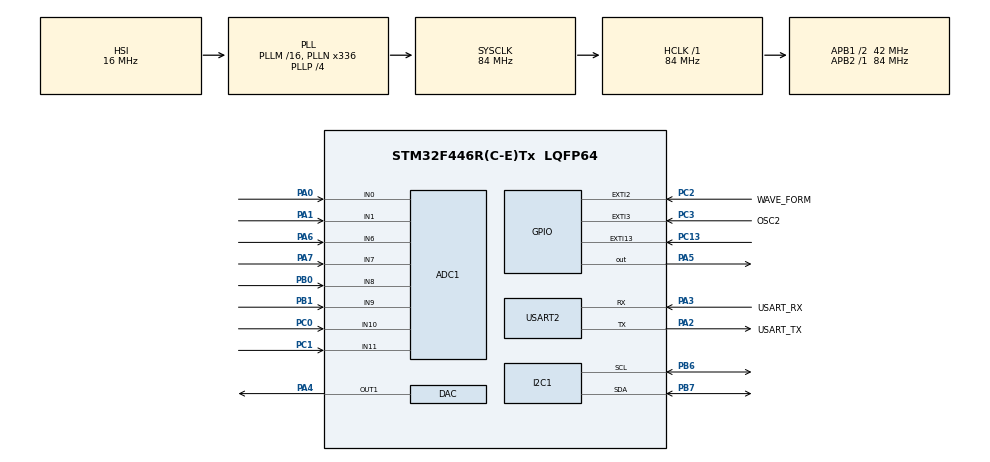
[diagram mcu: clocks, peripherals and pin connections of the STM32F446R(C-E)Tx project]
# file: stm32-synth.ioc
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ADC1.Channel-0\#ChannelRegularConversion=ADC_CHANNEL_0
ADC1.Channel-1\#ChannelRegularConversion=ADC_CHANNEL_1
ADC1.Channel-2\#ChannelRegularConversion=ADC_CHANNEL_6
ADC1.Channel-3\#ChannelRegularConversion=ADC_CHANNEL_7
ADC1.Channel-4\#ChannelRegularConversion=ADC_CHANNEL_8
ADC1.Channel-5\#ChannelRegularConversion=ADC_CHANNEL_9
ADC1.Channel-6\#ChannelRegularConversion=ADC_CHANNEL_10
ADC1.Channel-7\#ChannelRegularConversion=ADC_CHANNEL_11
ADC1.ContinuousConvMode=DISABLE
ADC1.DMAContinuousRequests=ENABLE
ADC1.ExternalTrigConv=ADC_EXTERNALTRIGCONV_T8_TRGO
ADC1.NbrOfConversion=8
ADC1.NbrOfConversionFlag=1
ADC1.Rank-0\#ChannelRegularConversion=1
ADC1.Rank-1\#ChannelRegularConversion=2
ADC1.Rank-2\#ChannelRegularConversion=3
ADC1.Rank-3\#ChannelRegularConversion=4
ADC1.Rank-4\#ChannelRegularConversion=5
ADC1.Rank-5\#ChannelRegularConversion=6
ADC1.Rank-6\#ChannelRegularConversion=7
ADC1.Rank-7\#ChannelRegularConversion=8
ADC1.SamplingTime-0\#ChannelRegularConversion=ADC_SAMPLETIME_480CYCLES
ADC1.SamplingTime-1\#ChannelRegularConversion=ADC_SAMPLETIME_480CYCLES
ADC1.SamplingTime-2\#ChannelRegularConversion=ADC_SAMPLETIME_480CYCLES
ADC1.SamplingTime-3\#ChannelRegularConversion=ADC_SAMPLETIME_480CYCLES
ADC1.SamplingTime-4\#ChannelRegularConversion=ADC_SAMPLETIME_480CYCLES
ADC1.SamplingTime-5\#ChannelRegularConversion=ADC_SAMPLETIME_480CYCLES
ADC1.SamplingTime-6\#ChannelRegularConversion=ADC_SAMPLETIME_480CYCLES
ADC1.SamplingTime-7\#ChannelRegularConversion=ADC_SAMPLETIME_480CYCLES
ADC1.ScanConvMode=ENABLE
ADC1.master=1
DAC.DAC_Trigger=DAC_TRIGGER_T6_TRGO
Dma.ADC1.1.Direction=DMA_PERIPH_TO_MEMORY
Dma.ADC1.1.FIFOMode=DMA_FIFOMODE_DISABLE
Dma.ADC1.1.Instance=DMA2_Stream0
Dma.ADC1.1.MemDataAlignment=DMA_MDATAALIGN_HALFWORD
Dma.ADC1.1.MemInc=DMA_MINC_ENABLE
Dma.ADC1.1.Mode=DMA_CIRCULAR
Dma.ADC1.1.PeriphDataAlignment=DMA_PDATAALIGN_HALFWORD
Dma.ADC1.1.PeriphInc=DMA_PINC_DISABLE
Dma.ADC1.1.Priority=DMA_PRIORITY_LOW
Dma.DAC1.0.Direction=DMA_MEMORY_TO_PERIPH
Dma.DAC1.0.FIFOMode=DMA_FIFOMODE_DISABLE
Dma.DAC1.0.Instance=DMA1_Stream5
Dma.DAC1.0.MemDataAlignment=DMA_MDATAALIGN_HALFWORD
Dma.DAC1.0.MemInc=DMA_MINC_ENABLE
Dma.DAC1.0.Mode=DMA_CIRCULAR
Dma.DAC1.0.PeriphDataAlignment=DMA_PDATAALIGN_HALFWORD
Dma.DAC1.0.PeriphInc=DMA_PINC_DISABLE
Dma.DAC1.0.Priority=DMA_PRIORITY_LOW
Dma.Request0=DAC1
Dma.Request1=ADC1
Mcu.Family=STM32F4
Mcu.Name=STM32F446R(C-E)Tx
Mcu.Package=LQFP64
NUCLEO-F446RE.BUTTON=1
NUCLEO-F446RE.LD1=true
NVIC.DMA1_Stream5_IRQn=true\:0\:0\:false\:false\:true\:false\:true\:true
NVIC.DMA2_Stream0_IRQn=true\:0\:0\:false\:false\:true\:false\:true\:true
NVIC.EXTI15_10_IRQn=true\:0\:0\:false\:false\:true\:false\:true\:true
NVIC.EXTI2_IRQn=true\:0\:0\:false\:false\:true\:true\:true\:true
NVIC.EXTI3_IRQn=true\:0\:0\:false\:false\:true\:true\:true\:true
NVIC.PriorityGroup=NVIC_PRIORITYGROUP_0
NVIC.USART2_IRQn=true\:0\:0\:false\:false\:true\:true\:true\:true
PA0-WKUP.Signal=ADCx_IN0
PA1.Signal=ADCx_IN1
PA13.GPIO_Label=TMS
PA13.Signal=SYS_JTMS-SWDIO
PA14.GPIO_Label=TCK
PA14.Signal=SYS_JTCK-SWCLK
PA2.GPIO_Label=USART_TX
PA2.Mode=Asynchronous
PA2.Signal=USART2_TX
PA3.GPIO_Label=USART_RX
PA3.Mode=Asynchronous
PA3.Signal=USART2_RX
PA4.Signal=COMP_DAC1_group
PA5.Signal=GPIO_Output
PA6.Signal=ADCx_IN6
PA7.Signal=ADCx_IN7
PB0.Signal=ADCx_IN8
PB1.Signal=ADCx_IN9
PB3.GPIO_Label=SWO
PB3.Signal=SYS_JTDO-SWO
PB6.Mode=I2C
PB6.Signal=I2C1_SCL
PB7.Mode=I2C
PB7.Signal=I2C1_SDA
PC0.Signal=ADCx_IN10
PC1.Signal=ADCx_IN11
PC13.Signal=GPXTI13
PC14-OSC32_IN.Signal=RCC_OSC32_IN
PC15-OSC32_OUT.Signal=RCC_OSC32_OUT
PC2.GPIO_Label=WAVE_FORM
PC2.GPIO_ModeDefaultEXTI=GPIO_MODE_IT_FALLING
PC2.GPIO_PuPd=GPIO_PULLUP
PC2.Signal=GPXTI2
PC3.GPIO_Label=OSC2
PC3.GPIO_ModeDefaultEXTI=GPIO_MODE_IT_FALLING
PC3.GPIO_PuPd=GPIO_PULLUP
PC3.Signal=GPXTI3
PH0-OSC_IN.Signal=RCC_OSC_IN
PH1-OSC_OUT.Signal=RCC_OSC_OUT
ProjectManager.HeapSize=0x200
ProjectManager.StackSize=0x400
ProjectManager.TargetToolchain=CMake
RCC.AHBFreq_Value=84000000
RCC.APB1CLKDivider=RCC_HCLK_DIV2
RCC.APB1Freq_Value=42000000
RCC.APB1TimFreq_Value=84000000
RCC.APB2Freq_Value=84000000
RCC.APB2TimFreq_Value=84000000
RCC.CortexFreq_Value=84000000
RCC.FLatency-AdvancedSettings=FLASH_LATENCY_2
RCC.HCLKFreq_Value=84000000
RCC.HSE_VALUE=8000000
RCC.HSI_VALUE=16000000
RCC.LSE_VALUE=32768
RCC.PLLN=336
RCC.PLLP=RCC_PLLP_DIV4
RCC.SYSCLKFreq_VALUE=84000000
RCC.SYSCLKSource=RCC_SYSCLKSOURCE_PLLCLK
RCC.USBFreq_Value=168000000
RCC.VCOOutputFreq_Value=336000000
SH.ADCx_IN0.0=ADC1_IN0,IN0
SH.ADCx_IN1.0=ADC1_IN1,IN1
SH.ADCx_IN10.0=ADC1_IN10,IN10
SH.ADCx_IN11.0=ADC1_IN11,IN11
SH.ADCx_IN6.0=ADC1_IN6,IN6
SH.ADCx_IN7.0=ADC1_IN7,IN7
SH.ADCx_IN8.0=ADC1_IN8,IN8
SH.ADCx_IN9.0=ADC1_IN9,IN9
SH.COMP_DAC1_group.0=DAC_OUT1,DAC_OUT1
TIM6.Period=1905-1
TIM6.Prescaler=0
TIM6.TIM_MasterOutputTrigger=TIM_TRGO_UPDATE
TIM8.Period=2000-1
TIM8.Prescaler=84-1
TIM8.TIM_MasterOutputTrigger=TIM_TRGO_UPDATE
USART2.VirtualMode=VM_ASYNC
VP_NUCLEO-F446RE_VS_BSP_COMMON.Mode=COMMON
VP_TIM6_VS_ClockSourceINT.Mode=Enable_Timer
VP_TIM8_VS_ClockSourceINT.Mode=Internal
board=NUCLEO-F446RE

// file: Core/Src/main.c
/* USER CODE BEGIN Header */
/**
  ******************************************************************************
  * @file           : main.c
  * @brief          : Main program body
  ******************************************************************************
  * @attention
  *
  * Copyright (c) 2026 STMicroelectronics.
  * All rights reserved.
  *
  * This software is licensed under terms that can be found in the LICENSE file
  * in the root directory of this software component.
  * If no LICENSE file comes with this software, it is provided AS-IS.
  *
  ******************************************************************************
  */
/* USER CODE END Header */
#include "main.h"

/* USER CODE BEGIN Includes */
#include <stdint.h>
#include <stdio.h>
#include <math.h>
#include <stdbool.h>

#include "synth.h"
#include "app_state.h"

/* USER CODE END Includes */

/* USER CODE BEGIN PD */
#define DAC_DMA_BUFFER_SIZE 32
#define OUTPUT_MID 2048 // 12-bit DAC, mid value is 2048
#define DEBOUNCE_MS 200

#define ADC_RESOLUTION pow(2,12)
#define ADC_DMA_SAMPLES 10
#define NUM_ADC_CHANNELS 8 // just need to update this when increasing ADC channels
// #define ADC_DMA_BUFFER_SIZE 1 * ADC_DMA_SAMPLES

#define ADC_DMA_BUFFER_SIZE (NUM_ADC_CHANNELS * ADC_DMA_SAMPLES)

/* USER CODE END PD */

ADC_HandleTypeDef hadc1;
DMA_HandleTypeDef hdma_adc1;

DAC_HandleTypeDef hdac;
DMA_HandleTypeDef hdma_dac1;

I2C_HandleTypeDef hi2c1;

TIM_HandleTypeDef htim6;
TIM_HandleTypeDef htim8;

UART_HandleTypeDef huart2;

/* USER CODE BEGIN PV */

uint32_t cb_counter = 0; // callback counter, incremented in timer interrupt

uint32_t last_button_press_time = 0; // last time the button was pressed, for debouncing
uint32_t last_OSC2_btn_press_time = 0; // last time the button was pressed, for debouncing
uint32_t last_WAVE_FORM_btn_press_time = 0; // last time the button was pressed, for debouncing
// volatile because it is modified in an interrupt and used in the main loop, so the compiler should not optimize it away
volatile bool is_blue_button_pressed = 0;
volatile bool is_OSC2_btn_pressed = 0;
volatile bool is_WAVE_FORM_btn_pressed = 0;
bool is_timer_running = 0;

uint16_t dac_dma_buffer[2 * DAC_DMA_BUFFER_SIZE]; // buffer for DMA transfer
uint16_t adc_dma_buffer[2 * ADC_DMA_BUFFER_SIZE];

volatile float adc_values[NUM_ADC_CHANNELS];

// synth effects parameters
// volatile float volume = 0.05f;
volatile float volume = 1.0f;
volatile float pitch = 1.0f;

// twice the dma buffer cuz we use circular mode

/* USER CODE END PV */

void SystemClock_Config(void);
static void MX_GPIO_Init(void);
static void MX_DMA_Init(void);
static void MX_USART2_UART_Init(void);
static void MX_TIM6_Init(void);
static void MX_DAC_Init(void);
static void MX_ADC1_Init(void);
static void MX_TIM8_Init(void);
static void MX_I2C1_Init(void);

/* USER CODE BEGIN 0 */

// Send printf to uart2
int _write(int fd, char* ptr, int len) {
  // overwrites the built-in _write function, which is called by printf and other stdio functions
  HAL_StatusTypeDef hstatus;

  if (fd == 1 || fd == 2) {
    hstatus = HAL_UART_Transmit(&huart2, (uint8_t *) ptr, len, HAL_MAX_DELAY);
    if (hstatus == HAL_OK)
      return len;
    else
      return -1;
  }
  return -1;
}

// optimize get tick function to be inline, so it doesn't have the overhead of a function call
// only affects release
inline uint32_t HAL_GetTick(void)
{
  return uwTick;
}

// callbacks
inline void HAL_TIM_PeriodElapsedCallback(TIM_HandleTypeDef *htim) // timer cb
{
  if (htim->Instance == TIM6) {
    cb_counter++; // increment callback counter
  }
}
void HAL_GPIO_EXTI_Callback(uint16_t GPIO_Pin) // button cb
{
  // blue button from nucleo board
  if (GPIO_Pin == GPIO_PIN_13)   // or the appropriate pin macro
  {
    uint32_t now = HAL_GetTick();
    if ( now - last_button_press_time >= DEBOUNCE_MS) {
      last_button_press_time = now;
      is_blue_button_pressed = 1;
    }
  }

  // additional buttons
  if(GPIO_Pin == WAVE_FORM_Pin)
  {
    uint32_t now = HAL_GetTick();
    if ( now - last_WAVE_FORM_btn_press_time >= DEBOUNCE_MS) {
      last_WAVE_FORM_btn_press_time = now;
      is_WAVE_FORM_btn_pressed = 1;
    }
  }
  if (GPIO_Pin == OSC2_Pin)
  {
    uint32_t now = HAL_GetTick();
    if ( now - last_OSC2_btn_press_time >= DEBOUNCE_MS) {
      last_OSC2_btn_press_time = now;
      is_OSC2_btn_pressed = 1;
    }
  }

}

void apply_effects(uint16_t *sample) {
  // apply effects to the sample

  // volume
  *sample = (uint16_t)((float)(*sample) * volume);

  // low-pass filter

  // pitch
  // *sample = (uint16_t)((float)(*sample) * pitch);
}

static inline void do_dac(uint16_t *buffer){
  float amplitude = OUTPUT_MID * 0.9f; // 90% of the DAC range, to avoid clipping

  // update volume
  // volume = (float) adc_values[0] / (ADC_RESOLUTION); // scale to 0.0 - 1.0
  // pitch = (float) adc_values[1] / (ADC_RESOLUTION); // scale to 0.0 - 1.0
  // set_osc1_freq(440.0f * pitch); // update frequency of osc1 based on adc value

  // update pitch

  for (int i = 0; i < DAC_DMA_BUFFER_SIZE; i++) {
    //! sine wave
    // uint32_t index = phase >> 22;
    // float wave = sine_table[index];

    //! sawtooth wave
    // float wave = 2.0f * (phase / 4294967296.0f) - 1.0f; // phase is a uint32_t, so it wraps around at 2^32, which is 4294967296

    // float sample = wave * amplitude;
    float sample = synth_process(i) * amplitude;

    // buffer[i] = OUTPUT_MID + amplitude * wave;
    buffer[i] = OUTPUT_MID + sample;
    if (i>1 && buffer[i-1]<OUTPUT_MID&&OUTPUT_MID>buffer[i]) {
      phase_trigger_index = i;
    }
    // if (i>1 && dac_dma_buffer[i - 1] < OUTPUT_MID && dac_dma_buffer[i] >= OUTPUT_MID) {
    //   is_load_dac_buffer_triggered = true;
    // }
    apply_effects(&buffer[i]);

    // increment phase
    // phase += phase_increment;
    // phase will auto wrap due to uint32_t overflow
  }
}

void process_adc_dma_buffer(uint16_t *buffer) {
  // process the adc dma buffer, which is filled by the adc dma interrupt

  // sum the samples for each channel
  uint32_t sums[NUM_ADC_CHANNELS] = {0};
  for (int sample = 0; sample < ADC_DMA_SAMPLES; sample++)
  {
      for (int ch = 0; ch < NUM_ADC_CHANNELS; ch++)
      {
          sums[ch] += buffer[sample * NUM_ADC_CHANNELS + ch];
      }
  }

  // average the samples and store in adc_value
  for (int ch = 0; ch < NUM_ADC_CHANNELS; ch++)
  {
      adc_values[ch] = sums[ch] / ADC_DMA_SAMPLES;
  }
}

// OLED TEST
#define OLED1_ADDR (0x3D << 1)

void OLED_Command(uint8_t cmd, uint16_t address)
{
    uint8_t data[2] = {0x00, cmd};
    // 0x00 is the control byte used by SH1106, followed by the command byte

    HAL_I2C_Master_Transmit(
        &hi2c1,
        address,
        data,
        2,
        HAL_MAX_DELAY
    );
}

void OLED_Init(uint16_t address)
{
  HAL_Delay(100);

  OLED_Command(0xAE, address); // Display OFF

  OLED_Command(0xD5, address);
  OLED_Command(0x80, address);

  OLED_Command(0xA8, address);
  OLED_Command(0x3F, address);

  OLED_Command(0xD3, address);
  OLED_Command(0x00, address);

  OLED_Command(0x40, address);

  OLED_Command(0x8D, address);
  OLED_Command(0x14, address); // Charge pump

  OLED_Command(0x20, address);
  OLED_Command(0x00, address); // Horizontal addressing mode

  OLED_Command(0xA1, address); // Segment remap
  OLED_Command(0xC8, address); // COM scan direction

  OLED_Command(0xDA, address);
  OLED_Command(0x12, address);

  OLED_Command(0x81, address);
  OLED_Command(0x7F, address);

  OLED_Command(0xD9, address);
  OLED_Command(0xF1, address);

  OLED_Command(0xDB, address);
  OLED_Command(0x40, address);

  OLED_Command(0xA4, address);
  OLED_Command(0xA6, address);

  OLED_Command(0xAF, address); // Display ON
}

#define WAVEFORM_CYCLE_COUNT 12
#define LOAD_DAC_BUFFER_SIZE DAC_DMA_BUFFER_SIZE*WAVEFORM_CYCLE_COUNT
uint16_t load_dac_buffer[LOAD_DAC_BUFFER_SIZE] = {0}; // 4*32=128 fits the oled resolution nicely
uint16_t curr_load_dac_buffer_idx = 0; // copied up to this index
bool is_load_dac_buffer_triggered = false;
// uint8_t oled_data[8][129] = {0b00000000};
uint8_t oled_data[8][129] = { // 0x40 = following bytes are display data
    {0x40},
    {0x40},
    {0x40},
    {0x40},
    {0x40},
    {0x40},
    {0x40},
    {0x40}
};
uint32_t render_oled_count = 0;
volatile uint16_t curr_dac_buffer_cycle = 0;
void render_oled(void){
  render_oled_count++;

  // clear oled data first
  for (int page = 0; page < 8; page++) {
    for (int i = 1; i < 129; i++) {
      // skip index 0 of each column
      oled_data[page][i] = 0;
    }
  }

  uint16_t max_dac_value = 0;
  for (int i = 1; i < LOAD_DAC_BUFFER_SIZE; i++){
    uint16_t value = load_dac_buffer[i];
    if (value > max_dac_value) {
      max_dac_value = value;
    }
  }
  if (max_dac_value>4095) max_dac_value = 4095;
  uint16_t translate_y = (OUTPUT_MID-(max_dac_value)/2);

  // fill with new data
  for (int i = 0; i < LOAD_DAC_BUFFER_SIZE; i++) {
    // map to oled_data
    // uint16_t value = load_dac_buffer[i]+translate_y;
    uint16_t value = load_dac_buffer[i];
    // clamp DAC value to avoid HardFault
    if (value > 4095) value = 4095;
    uint8_t y = 63-(value >> 6); // just slightly more optimized, sacrificing accuracy for the edges of the mapping
    uint16_t x = i*((float)127/(LOAD_DAC_BUFFER_SIZE-1))+1; // map LOAD_DAC_BUFFER_SIZE to 128 pixels
    oled_data[y / 8][x] |= 1 << (y%8);
    /*
    !IMPORTANT LESSON!
    (|=) is important instead of just (=) because if LOAD_DAC_BUFFER_SIZE is greater than the oled width (128),
    then the mapping becomes compressed and multiple iterations can hit the same x in oled[page][x] and overwrite the previous iteration
    */

    // connect curr pixel to next pixel
    if (i+1==LOAD_DAC_BUFFER_SIZE) break;
    // uint16_t value_next = load_dac_buffer[i+1]+translate_y;
    uint16_t value_next = load_dac_buffer[i+1];
    // clamp value again here
    if (value_next > 4095) value_next = 4095;
    if (value_next < 0) value_next = 0;
    uint8_t y_next = 63-(value_next >> 6);
    int16_t difference = (int16_t)y-(int16_t)y_next;

    if (difference>1) { // y > y_next
      oled_data[y / 8][x] = (uint8_t)~0 >> (7-(y%8));
      for (int page = 1; page < difference/8+1; page++) {
        oled_data[(y/8)-page][x] = (~0);
      }
      if(y/8==y_next/8){
        oled_data[y_next / 8][x] &= (uint8_t)~0 << (y_next%8);
      } else {
        oled_data[y_next / 8][x] = (uint8_t)~0 << (y_next%8);
      }
    } else if (difference<-1) { // y < y_next
      oled_data[y / 8][x] = (uint8_t)~0 << (y%8);
      for (int page = 1; page < -difference/8+1; page++) {
        oled_data[(y/8)+page][x] = (~0);
      }
      if (y/8==y_next/8) {
        oled_data[y_next / 8][x] &= (uint8_t)~0 >> (7-(y_next%8));
      } else {
        oled_data[y_next / 8][x] = (uint8_t)~0 >> (7-(y_next%8));
      }
    }
  }

  // send i2c command to oled
  for (volatile int page = 0; page < 8; page++){
    // oled_data[page][0] = 0x40;
    OLED_Command(0xB0 + page, OLED1_ADDR);
    OLED_Command(0x00, OLED1_ADDR);
    OLED_Command(0x10, OLED1_ADDR);

    HAL_I2C_Master_Transmit(
      &hi2c1,
      OLED1_ADDR,
      oled_data[page],
      129,
      HAL_MAX_DELAY
    );
  }

  curr_dac_buffer_cycle = 0; // done using buffer. ready to update
  curr_load_dac_buffer_idx = 0; // done using buffer. ready to update
  is_load_dac_buffer_triggered = false;
  // printf("phase_trigger_index: %d\n", phase_trigger_index);
  phase_trigger_index = -1;
}

// OLED TEST
static void copy_dac_buffer(void){
  // if (curr_waveform_cycle >= WAVEFORM_CYCLE_COUNT) return;
  if (curr_load_dac_buffer_idx == LOAD_DAC_BUFFER_SIZE) return;

  // // uint16_t max = 0;
  // // for (int i = 0; i < DAC_DMA_BUFFER_SIZE; i++) {
  // //   if (dac_dma_buffer[i] > max) max = dac_dma_buffer[i];
  // // }
  // // uint16_t min = max;
  // // for (int i = 0; i < DAC_DMA_BUFFER_SIZE; i++) {
  // //   if (dac_dma_buffer[i] < min) min = dac_dma_buffer[i];
  // // }
  // // printf("min: %u, max: %u\n", min, max);
  // // only start copying when trigger is detected. trigger = 0

  // if (phase_trigger_index < 0) return;
  // uint16_t buffer_offset = (curr_dac_buffer_cycle % 2) * DAC_DMA_BUFFER_SIZE;

  // // printf("cycle=%lu offset=%u trigger=%d absolute=%u\n",
  // //      curr_dac_buffer_cycle,
  // //      buffer_offset,
  // //      phase_trigger_index,
  // //      buffer_offset + phase_trigger_index);

  // // local and absolute is in relation to the circular buffer
  // for (int local_i = 0; local_i < DAC_DMA_BUFFER_SIZE; local_i++) {
  //   if (curr_load_dac_buffer_idx == LOAD_DAC_BUFFER_SIZE) return;
  //   uint16_t absolute_i  = local_i + buffer_offset;

  //   if ( local_i==phase_trigger_index) {
  //     // printf("absolute_i: %u\n", absolute_i);
  //     is_load_dac_buffer_triggered = true;
  //   }
  //   if (!is_load_dac_buffer_triggered) continue;
  //   // if (curr_load_dac_buffer_idx==0) {
  //   //   printf("dac_dma_buffer[absolute_i]: %u\n", dac_dma_buffer[absolute_i]);
  //   // }

  //   load_dac_buffer[curr_load_dac_buffer_idx++] = dac_dma_buffer[absolute_i];
  // }

  for (int i = (curr_dac_buffer_cycle%2)*DAC_DMA_BUFFER_SIZE; i < ((curr_dac_buffer_cycle%2)+1)*DAC_DMA_BUFFER_SIZE; i++) {
    if (curr_load_dac_buffer_idx == LOAD_DAC_BUFFER_SIZE) break;

    if (i>0 && dac_dma_buffer[i - 1] < OUTPUT_MID && dac_dma_buffer[i] >= OUTPUT_MID) {
      is_load_dac_buffer_triggered = true;
    }

    if (!is_load_dac_buffer_triggered) break;
    load_dac_buffer[curr_load_dac_buffer_idx++] = dac_dma_buffer[i];
  }

}

inline void HAL_DAC_ConvHalfCpltCallbackCh1(DAC_HandleTypeDef *hdac)
{
  do_dac(&dac_dma_buffer[0]); // fill first half of buffer
  copy_dac_buffer();
  curr_dac_buffer_cycle++;
}
inline void HAL_DAC_ConvCpltCallbackCh1(DAC_HandleTypeDef *hdac)
{
  do_dac(&dac_dma_buffer[DAC_DMA_BUFFER_SIZE]); // fill second half of buffer
  copy_dac_buffer();
  curr_dac_buffer_cycle++;
}

void HAL_ADC_ConvCpltCallback(ADC_HandleTypeDef *hadc){
  process_adc_dma_buffer(&adc_dma_buffer[ADC_DMA_BUFFER_SIZE]);
}
void HAL_ADC_ConvHalfCpltCallback(ADC_HandleTypeDef *hadc){
  process_adc_dma_buffer(&adc_dma_buffer[0]);
}

/* USER CODE END 0 */

int main(void)
{

  /* MCU Configuration--------------------------------------------------------*/

  /* Reset of all peripherals, Initializes the Flash interface and the Systick. */
  HAL_Init();

  /* Configure the system clock */
  SystemClock_Config();

  /* Initialize all configured peripherals */
  MX_GPIO_Init();
  MX_DMA_Init();
  MX_USART2_UART_Init();
  MX_TIM6_Init();
  MX_DAC_Init();
  MX_ADC1_Init();
  MX_TIM8_Init();
  MX_I2C1_Init();
  /* USER CODE BEGIN 2 */
  printf("Starting main loop...\n");

  printf("filling sine lookup table...\n");
  synth_init(); // initialize the synth

  HAL_TIM_Base_Start(&htim8);
  HAL_ADC_Start_DMA(&hadc1, (uint32_t*) &adc_dma_buffer, 2 * ADC_DMA_BUFFER_SIZE);
  // HAL_TIM_Base_Start_IT(&htim6); // start timer 6 in interrupt mode
  // HAL_DAC_Start_DMA(&hdac, DAC_CHANNEL_1, (uint32_t*)dma_buffer, 2 * DAC_DMA_BUFFER_SIZE, DAC_ALIGN_12B_R); // start DAC in DMA mode

  OLED_Init(OLED1_ADDR);
  uint8_t data[129];

  // Using SH1106 which has 132x64 memory compared to 128x64 in SSD1306
  data[0] = 0x40; // 0x40 = following bytes are display data

  for (int i = 1; i < 129; i++)
      data[i] = 0x00;

  for (int page = 0; page < 8; page++)
  {
      OLED_Command(0xB0 + page, OLED1_ADDR);

      // Start from column address 2
      OLED_Command(0x00, OLED1_ADDR);
      OLED_Command(0x10, OLED1_ADDR);

      // Only page 0 gets the pixel
      if (page == 0){
          // data[40] = 0x11;
          // data[40] = 0b01010101;
          // data[40] = 0b00000001;
          data[40] = 0b10000000;
          // data[41] = 0b10101010;
      }
      else if (page == 1){
          data[40] = 0x00;
          data[41] = 0x00;
          // data[41] = 0x01;
      }
      else{
          data[40] = 0x00;
          data[41] = 0x00;
      }

      HAL_I2C_Master_Transmit(
          &hi2c1,
          OLED1_ADDR,
          data,
          129,
          HAL_MAX_DELAY
      );
  }

  // data[0] = 0x40; // 0x40 = following bytes are display data
  // OLED_Command(0xB0 + 1);
  // OLED_Command(0x02);
  // OLED_Command(0x10);

  // // data[40] = 0x00;
  // data[42] = 0x01;

  // HAL_I2C_Master_Transmit(
  //     &hi2c1,
  //     OLED_ADDR,
  //     data,
  //     129,
  //     HAL_MAX_DELAY
  // );

  uint32_t loop_counter = 0;
  uint32_t now = HAL_GetTick();
  #define LOOP_COUNTER_LOG_INTERVAL 1000
  uint32_t next_loop_counter_log = now + LOOP_COUNTER_LOG_INTERVAL;

  /* USER CODE END 2 */

  /* Initialize leds */
  BSP_LED_Init(LED2);

  /* Initialize USER push-button, will be used to trigger an interrupt each time it's pressed.*/
  BSP_PB_Init(BUTTON_USER, BUTTON_MODE_EXTI);

  /* Infinite loop */
  /* USER CODE BEGIN WHILE */
  while (1)
  {
    now = HAL_GetTick();

    if(is_WAVE_FORM_btn_pressed) {
      is_WAVE_FORM_btn_pressed = 0;
      // BSP_LED_Toggle(LED2); // toggle led using BSP function
      iter_OSC1_waveform();
    }
    if(is_OSC2_btn_pressed) {
      is_OSC2_btn_pressed = 0;
      // BSP_LED_Toggle(LED2); // toggle led using BSP function
      // toggle_OSC2();
      iter_chord();
    }

    if (is_blue_button_pressed) {
      is_blue_button_pressed = 0;
      // BSP_LED_Toggle(LED2); // toggle led using BSP function
      // printf("Button pressed!\n");

      // toggle timer6
      if (is_timer_running)
      {
          // no need to start TIM in interrupt mode, because we are using DAC with DMA, which will trigger TIM6 automatically
          HAL_TIM_Base_Stop(&htim6);
          HAL_DAC_Stop_DMA(&hdac, DAC_CHANNEL_1);
      }
      else
      {
          HAL_TIM_Base_Start(&htim6);
          HAL_DAC_Start_DMA(&hdac, DAC_CHANNEL_1, (uint32_t*)dac_dma_buffer, 2 * DAC_DMA_BUFFER_SIZE, DAC_ALIGN_12B_R);
      }

      is_timer_running = !is_timer_running;
    }

    // log loop counter
    if (now >= next_loop_counter_log) {
      printf("loop_counter: %lu\n", loop_counter);
      printf("render_oled_count: %lu\n", render_oled_count);
      loop_counter = 0;
      render_oled_count = 0;
      next_loop_counter_log = now + LOOP_COUNTER_LOG_INTERVAL;

      // if (curr_waveform_cycle == WAVEFORM_CYCLE_COUNT) render_oled();
    }
    // if (curr_waveform_cycle == WAVEFORM_CYCLE_COUNT) render_oled();
    if (curr_load_dac_buffer_idx == LOAD_DAC_BUFFER_SIZE) render_oled();
    // render_oled();

    loop_counter++;

    /* USER CODE END WHILE */

  }
}

void SystemClock_Config(void)
{
  RCC_OscInitTypeDef RCC_OscInitStruct = {0};
  RCC_ClkInitTypeDef RCC_ClkInitStruct = {0};

  /** Configure the main internal regulator output voltage
  */
  __HAL_RCC_PWR_CLK_ENABLE();
  __HAL_PWR_VOLTAGESCALING_CONFIG(PWR_REGULATOR_VOLTAGE_SCALE3);

  /** Initializes the RCC Oscillators according to the specified parameters
  * in the RCC_OscInitTypeDef structure.
  */
  RCC_OscInitStruct.OscillatorType = RCC_OSCILLATORTYPE_HSI;
  RCC_OscInitStruct.HSIState = RCC_HSI_ON;
  RCC_OscInitStruct.HSICalibrationValue = RCC_HSICALIBRATION_DEFAULT;
  RCC_OscInitStruct.PLL.PLLState = RCC_PLL_ON;
  RCC_OscInitStruct.PLL.PLLSource = RCC_PLLSOURCE_HSI;
  RCC_OscInitStruct.PLL.PLLM = 16;
  RCC_OscInitStruct.PLL.PLLN = 336;
  RCC_OscInitStruct.PLL.PLLP = RCC_PLLP_DIV4;
  RCC_OscInitStruct.PLL.PLLQ = 2;
  RCC_OscInitStruct.PLL.PLLR = 2;
  if (HAL_RCC_OscConfig(&RCC_OscInitStruct) != HAL_OK)
  {
    Error_Handler();
  }

  /** Initializes the CPU, AHB and APB buses clocks
  */
  RCC_ClkInitStruct.ClockType = RCC_CLOCKTYPE_HCLK|RCC_CLOCKTYPE_SYSCLK
                              |RCC_CLOCKTYPE_PCLK1|RCC_CLOCKTYPE_PCLK2;
  RCC_ClkInitStruct.SYSCLKSource = RCC_SYSCLKSOURCE_PLLCLK;
  RCC_ClkInitStruct.AHBCLKDivider = RCC_SYSCLK_DIV1;
  RCC_ClkInitStruct.APB1CLKDivider = RCC_HCLK_DIV2;
  RCC_ClkInitStruct.APB2CLKDivider = RCC_HCLK_DIV1;

  if (HAL_RCC_ClockConfig(&RCC_ClkInitStruct, FLASH_LATENCY_2) != HAL_OK)
  {
    Error_Handler();
  }
}

static void MX_ADC1_Init(void)
{

  ADC_ChannelConfTypeDef sConfig = {0};

  /** Configure the global features of the ADC (Clock, Resolution, Data Alignment and number of conversion)
  */
  hadc1.Instance = ADC1;
  hadc1.Init.ClockPrescaler = ADC_CLOCK_SYNC_PCLK_DIV4;
  hadc1.Init.Resolution = ADC_RESOLUTION_12B;
  hadc1.Init.ScanConvMode = ENABLE;
  hadc1.Init.ContinuousConvMode = DISABLE;
  hadc1.Init.DiscontinuousConvMode = DISABLE;
  hadc1.Init.ExternalTrigConvEdge = ADC_EXTERNALTRIGCONVEDGE_RISING;
  hadc1.Init.ExternalTrigConv = ADC_EXTERNALTRIGCONV_T8_TRGO;
  hadc1.Init.DataAlign = ADC_DATAALIGN_RIGHT;
  hadc1.Init.NbrOfConversion = 8;
  hadc1.Init.DMAContinuousRequests = ENABLE;
  hadc1.Init.EOCSelection = ADC_EOC_SINGLE_CONV;
  if (HAL_ADC_Init(&hadc1) != HAL_OK)
  {
    Error_Handler();
  }

  /** Configure for the selected ADC regular channel its corresponding rank in the sequencer and its sample time.
  */
  sConfig.Channel = ADC_CHANNEL_0;
  sConfig.Rank = 1;
  sConfig.SamplingTime = ADC_SAMPLETIME_480CYCLES;
  if (HAL_ADC_ConfigChannel(&hadc1, &sConfig) != HAL_OK)
  {
    Error_Handler();
  }

  /** Configure for the selected ADC regular channel its corresponding rank in the sequencer and its sample time.
  */
  sConfig.Channel = ADC_CHANNEL_1;
  sConfig.Rank = 2;
  if (HAL_ADC_ConfigChannel(&hadc1, &sConfig) != HAL_OK)
  {
    Error_Handler();
  }

  /** Configure for the selected ADC regular channel its corresponding rank in the sequencer and its sample time.
  */
  sConfig.Channel = ADC_CHANNEL_6;
  sConfig.Rank = 3;
  if (HAL_ADC_ConfigChannel(&hadc1, &sConfig) != HAL_OK)
  {
    Error_Handler();
  }

  /** Configure for the selected ADC regular channel its corresponding rank in the sequencer and its sample time.
  */
  sConfig.Channel = ADC_CHANNEL_7;
  sConfig.Rank = 4;
  if (HAL_ADC_ConfigChannel(&hadc1, &sConfig) != HAL_OK)
  {
    Error_Handler();
  }

  /** Configure for the selected ADC regular channel its corresponding rank in the sequencer and its sample time.
  */
  sConfig.Channel = ADC_CHANNEL_8;
  sConfig.Rank = 5;
  if (HAL_ADC_ConfigChannel(&hadc1, &sConfig) != HAL_OK)
  {
    Error_Handler();
  }

  /** Configure for the selected ADC regular channel its corresponding rank in the sequencer and its sample time.
  */
  sConfig.Channel = ADC_CHANNEL_9;
  sConfig.Rank = 6;
  if (HAL_ADC_ConfigChannel(&hadc1, &sConfig) != HAL_OK)
  {
    Error_Handler();
  }

  /** Configure for the selected ADC regular channel its corresponding rank in the sequencer and its sample time.
  */
  sConfig.Channel = ADC_CHANNEL_10;
  sConfig.Rank = 7;
  if (HAL_ADC_ConfigChannel(&hadc1, &sConfig) != HAL_OK)
  {
    Error_Handler();
  }

  /** Configure for the selected ADC regular channel its corresponding rank in the sequencer and its sample time.
  */
  sConfig.Channel = ADC_CHANNEL_11;
  sConfig.Rank = 8;
  if (HAL_ADC_ConfigChannel(&hadc1, &sConfig) != HAL_OK)
  {
    Error_Handler();
  }

}

static void MX_DAC_Init(void)
{

  DAC_ChannelConfTypeDef sConfig = {0};

  /** DAC Initialization
  */
  hdac.Instance = DAC;
  if (HAL_DAC_Init(&hdac) != HAL_OK)
  {
    Error_Handler();
  }

  /** DAC channel OUT1 config
  */
  sConfig.DAC_Trigger = DAC_TRIGGER_T6_TRGO;
  sConfig.DAC_OutputBuffer = DAC_OUTPUTBUFFER_ENABLE;
  if (HAL_DAC_ConfigChannel(&hdac, &sConfig, DAC_CHANNEL_1) != HAL_OK)
  {
    Error_Handler();
  }

}

static void MX_I2C1_Init(void)
{

  hi2c1.Instance = I2C1;
  hi2c1.Init.ClockSpeed = 100000;
  hi2c1.Init.DutyCycle = I2C_DUTYCYCLE_2;
  hi2c1.Init.OwnAddress1 = 0;
  hi2c1.Init.AddressingMode = I2C_ADDRESSINGMODE_7BIT;
  hi2c1.Init.DualAddressMode = I2C_DUALADDRESS_DISABLE;
  hi2c1.Init.OwnAddress2 = 0;
  hi2c1.Init.GeneralCallMode = I2C_GENERALCALL_DISABLE;
  hi2c1.Init.NoStretchMode = I2C_NOSTRETCH_DISABLE;
  if (HAL_I2C_Init(&hi2c1) != HAL_OK)
  {
    Error_Handler();
  }
  /* USER CODE BEGIN I2C1_Init 2 */

  for (uint8_t address = 1; address < 127; address++)
{
    if (HAL_I2C_IsDeviceReady(&hi2c1, address << 1, 3, 100) == HAL_OK)
    {
        printf("I2C device found at 0x%02X\n", address);
    }
}

  /* USER CODE END I2C1_Init 2 */

}

static void MX_TIM6_Init(void)
{

  TIM_MasterConfigTypeDef sMasterConfig = {0};

  htim6.Instance = TIM6;
  htim6.Init.Prescaler = 0;
  htim6.Init.CounterMode = TIM_COUNTERMODE_UP;
  htim6.Init.Period = 1905-1;
  htim6.Init.AutoReloadPreload = TIM_AUTORELOAD_PRELOAD_DISABLE;
  if (HAL_TIM_Base_Init(&htim6) != HAL_OK)
  {
    Error_Handler();
  }
  sMasterConfig.MasterOutputTrigger = TIM_TRGO_UPDATE;
  sMasterConfig.MasterSlaveMode = TIM_MASTERSLAVEMODE_DISABLE;
  if (HAL_TIMEx_MasterConfigSynchronization(&htim6, &sMasterConfig) != HAL_OK)
  {
    Error_Handler();
  }

}

static void MX_TIM8_Init(void)
{

  TIM_ClockConfigTypeDef sClockSourceConfig = {0};
  TIM_MasterConfigTypeDef sMasterConfig = {0};

  htim8.Instance = TIM8;
  htim8.Init.Prescaler = 84-1;
  htim8.Init.CounterMode = TIM_COUNTERMODE_UP;
  htim8.Init.Period = 2000-1;
  htim8.Init.ClockDivision = TIM_CLOCKDIVISION_DIV1;
  htim8.Init.RepetitionCounter = 0;
  htim8.Init.AutoReloadPreload = TIM_AUTORELOAD_PRELOAD_DISABLE;
  if (HAL_TIM_Base_Init(&htim8) != HAL_OK)
  {
    Error_Handler();
  }
  sClockSourceConfig.ClockSource = TIM_CLOCKSOURCE_INTERNAL;
  if (HAL_TIM_ConfigClockSource(&htim8, &sClockSourceConfig) != HAL_OK)
  {
    Error_Handler();
  }
  sMasterConfig.MasterOutputTrigger = TIM_TRGO_UPDATE;
  sMasterConfig.MasterSlaveMode = TIM_MASTERSLAVEMODE_DISABLE;
  if (HAL_TIMEx_MasterConfigSynchronization(&htim8, &sMasterConfig) != HAL_OK)
  {
    Error_Handler();
  }

}

static void MX_USART2_UART_Init(void)
{

  huart2.Instance = USART2;
  huart2.Init.BaudRate = 115200;
  huart2.Init.WordLength = UART_WORDLENGTH_8B;
  huart2.Init.StopBits = UART_STOPBITS_1;
  huart2.Init.Parity = UART_PARITY_NONE;
  huart2.Init.Mode = UART_MODE_TX_RX;
  huart2.Init.HwFlowCtl = UART_HWCONTROL_NONE;
  huart2.Init.OverSampling = UART_OVERSAMPLING_16;
  if (HAL_UART_Init(&huart2) != HAL_OK)
  {
    Error_Handler();
  }

}

static void MX_DMA_Init(void)
{

  /* DMA controller clock enable */
  __HAL_RCC_DMA1_CLK_ENABLE();
  __HAL_RCC_DMA2_CLK_ENABLE();

  /* DMA interrupt init */
  /* DMA1_Stream5_IRQn interrupt configuration */
  HAL_NVIC_SetPriority(DMA1_Stream5_IRQn, 0, 0);
  HAL_NVIC_EnableIRQ(DMA1_Stream5_IRQn);
  /* DMA2_Stream0_IRQn interrupt configuration */
  HAL_NVIC_SetPriority(DMA2_Stream0_IRQn, 0, 0);
  HAL_NVIC_EnableIRQ(DMA2_Stream0_IRQn);

}

static void MX_GPIO_Init(void)
{
  GPIO_InitTypeDef GPIO_InitStruct = {0};

  /* GPIO Ports Clock Enable */
  __HAL_RCC_GPIOC_CLK_ENABLE();
  __HAL_RCC_GPIOH_CLK_ENABLE();
  __HAL_RCC_GPIOA_CLK_ENABLE();
  __HAL_RCC_GPIOB_CLK_ENABLE();

  /*Configure GPIO pins : WAVE_FORM_Pin OSC2_Pin */
  GPIO_InitStruct.Pin = WAVE_FORM_Pin|OSC2_Pin;
  GPIO_InitStruct.Mode = GPIO_MODE_IT_FALLING;
  GPIO_InitStruct.Pull = GPIO_PULLUP;
  HAL_GPIO_Init(GPIOC, &GPIO_InitStruct);

  /* EXTI interrupt init*/
  HAL_NVIC_SetPriority(EXTI2_IRQn, 0, 0);
  HAL_NVIC_EnableIRQ(EXTI2_IRQn);

  HAL_NVIC_SetPriority(EXTI3_IRQn, 0, 0);
  HAL_NVIC_EnableIRQ(EXTI3_IRQn);

}

void Error_Handler(void)
{
  __disable_irq();
  while (1)
  {
  }
}
